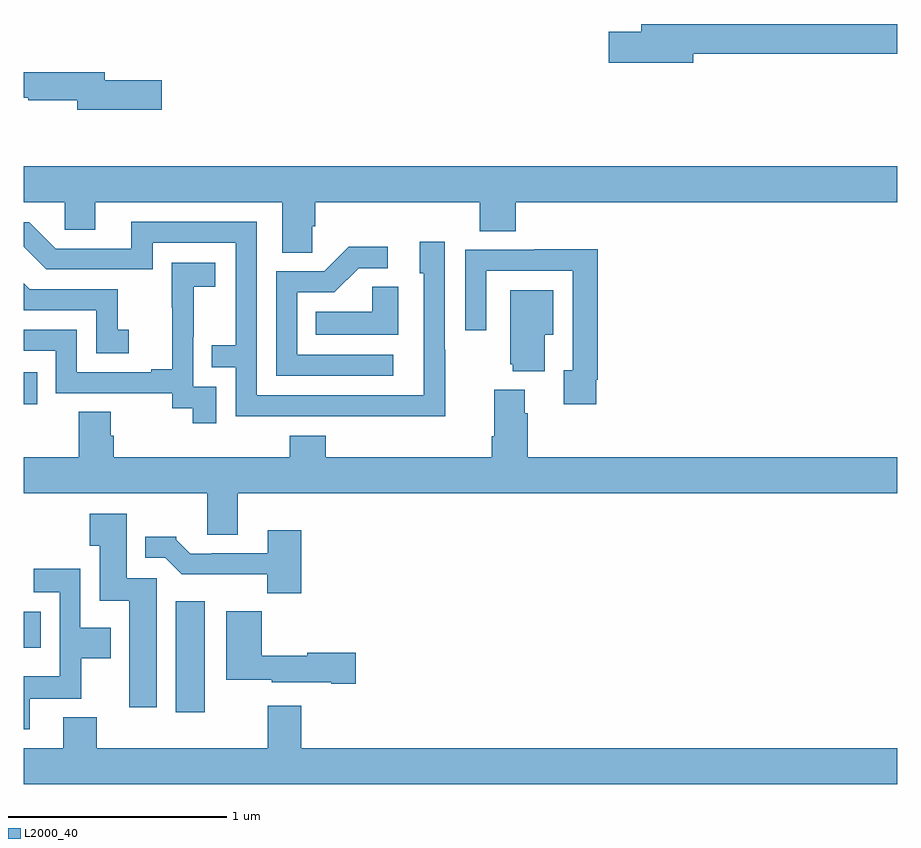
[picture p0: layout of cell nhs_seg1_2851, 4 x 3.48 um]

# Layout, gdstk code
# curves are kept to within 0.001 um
import gdstk
lib = gdstk.Library(unit=1e-6, precision=1e-09)
def R(c, l, rs):  # rectangles x0, y0, x1, y1
    for r in rs: c.add(gdstk.rectangle(r[:2], r[2:], *l))
def P(c, l, *ps):  # polygons
    for p in ps: c.add(gdstk.Polygon(p, *l))
L2000_40 = (2000, 40)

nhs_seg1_2851 = lib.new_cell('nhs_seg1_2851')
R(nhs_seg1_2851, L2000_40, [(265.697,558.72,265.828,559.228), (265,559.016,265.079,559.18), (265,560.13,265.061,560.277)])
P(nhs_seg1_2851, L2000_40, [(268.066,561.736),(269,561.736),(269,561.872),(267.827,561.872),(267.827,561.836),(267.678,561.836),(267.678,561.694),(268.066,561.694)],
  [(265.633,561.614),(265.372,561.614),(265.372,561.65),(265,561.65),(265,561.534),(265.021,561.534),(265.021,561.522),(265.244,561.522),(265.244,561.479),(265.633,561.479)],
  [(266.322,560.947),(266.336,560.947),(266.336,561.056),(267.089,561.056),(267.089,560.923),(267.254,560.923),(267.254,561.056),(269,561.056),(269,561.22),(265,561.22),(265,561.056),(265.188,561.056),(265.188,560.929),(265.327,560.929),(265.327,561.056),(266.183,561.056),(266.183,560.824),(266.322,560.824)],
  [(266.931,560.381),(266.928,560.381),(266.928,560.875),(266.813,560.875),(266.813,560.73),(266.832,560.73),(266.832,560.172),(266.067,560.172),(266.067,560.967),(265.493,560.967),(265.493,560.844),(265.146,560.844),(265.026,560.964),(265,560.964),(265,560.852),(265.104,560.748),(265.59,560.748),(265.59,560.871),(265.971,560.871),(265.971,560.402),(265.861,560.402),(265.861,560.301),(265.971,560.301),(265.971,560.076),(266.931,560.075)],
  [(266.692,560.358),(266.253,560.358),(266.253,560.643),(266.422,560.643),(266.533,560.754),(266.668,560.754),(266.668,560.852),(266.489,560.852),(266.376,560.739),(266.157,560.739),(266.157,560.262),(266.692,560.262)],
  [(267.622,560.242),(267.629,560.242),(267.629,560.84),(267.337,560.84),(267.337,560.838),(267.021,560.838),(267.021,560.469),(267.117,560.469),(267.117,560.742),(267.513,560.742),(267.513,560.286),(267.473,560.286),(267.473,560.13),(267.622,560.13)],
  [(265.881,560.211),(265.776,560.211),(265.776,560.441),(265.778,560.441),(265.778,560.669),(265.876,560.669),(265.876,560.779),(265.678,560.779),(265.678,560.573),(265.679,560.573),(265.679,560.29),(265.583,560.29),(265.583,560.277),(265.242,560.277),(265.242,560.472),(265,560.472),(265,560.376),(265.146,560.376),(265.146,560.181),(265.68,560.181),(265.68,560.113),(265.773,560.113),(265.773,560.043),(265.881,560.043)],
  [(265.48,560.473),(265.431,560.473),(265.431,560.658),(265.027,560.658),(265,560.685),(265,560.562),(265.332,560.562),(265.332,560.364),(265.48,560.364)],
  [(266.716,560.669),(266.595,560.669),(266.595,560.554),(266.338,560.554),(266.338,560.45),(266.716,560.45)],
  [(267.385,560.45),(267.424,560.45),(267.424,560.653),(267.227,560.653),(267.227,560.313),(267.239,560.313),(267.239,560.282),(267.385,560.282)],
  [(265.981,559.724),(269,559.724),(269,559.888),(267.308,559.888),(267.308,560.09),(267.295,560.09),(267.295,560.197),(267.155,560.197),(267.155,559.984),(267.143,559.984),(267.143,559.888),(266.384,559.888),(266.384,559.987),(266.219,559.987),(266.219,559.888),(265.412,559.888),(265.412,559.986),(265.399,559.986),(265.399,560.096),(265.252,560.096),(265.252,559.888),(265,559.888),(265,559.724),(265.841,559.724),(265.841,559.534),(265.981,559.534)],
  [(265.609,559.335),(265.471,559.335),(265.471,559.63),(265.303,559.63),(265.303,559.483),(265.349,559.483),(265.349,559.232),(265.484,559.232),(265.484,558.744),(265.609,558.744)],
  [(266.27,559.555),(266.117,559.555),(266.117,559.449),(265.861,559.449),(265.861,559.446),(265.762,559.446),(265.698,559.51),(265.698,559.525),(265.556,559.525),(265.556,559.428),(265.647,559.428),(265.723,559.352),(266.115,559.352),(266.115,559.265),(266.27,559.265)],
  [(265.027,558.782),(265.263,558.782),(265.263,558.968),(265.399,558.968),(265.399,559.108),(265.26,559.108),(265.26,559.378),(265.047,559.378),(265.047,559.269),(265.164,559.269),(265.164,558.886),(265,558.886),(265,558.642),(265.027,558.642)],
  [(266.521,558.992),(266.298,558.992),(266.298,558.979),(266.09,558.979),(266.09,559.183),(265.928,559.183),(265.928,558.869),(266.136,558.869),(266.136,558.857),(266.408,558.857),(266.408,558.85),(266.521,558.85)],
  [(269,558.556),(266.27,558.556),(266.27,558.751),(266.117,558.751),(266.117,558.556),(265.334,558.556),(265.334,558.697),(265.181,558.697),(265.181,558.556),(265,558.556),(265,558.392),(269,558.392)])

lib.write_gds('nhs_seg1_2851.gds')
